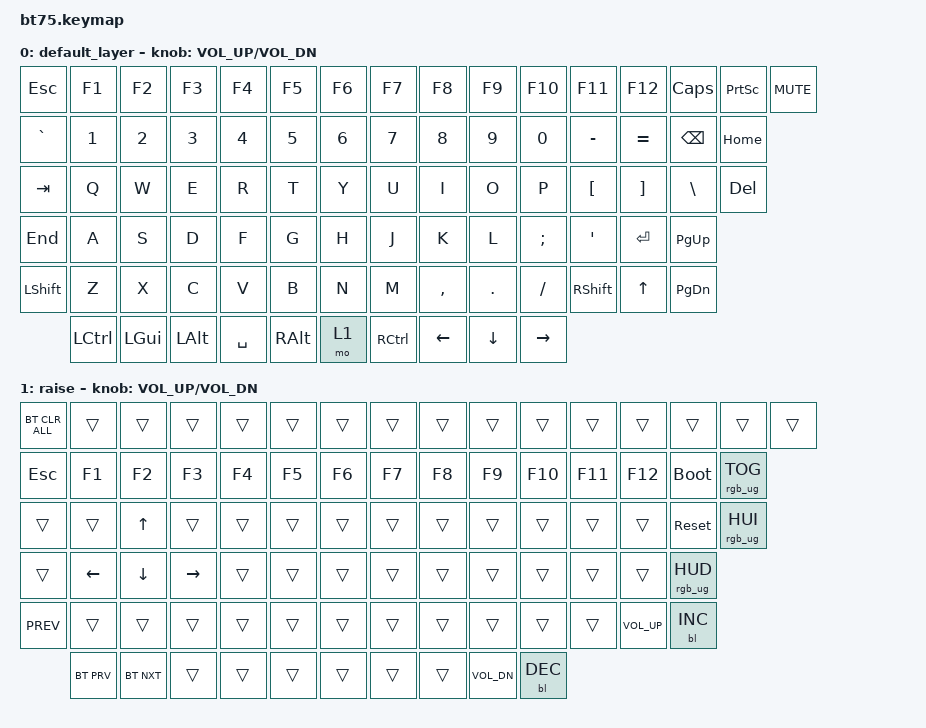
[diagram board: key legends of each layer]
#include <behaviors.dtsi>
#include <dt-bindings/zmk/backlight.h>
#include <dt-bindings/zmk/bt.h>
#include <dt-bindings/zmk/keys.h>
#include <dt-bindings/zmk/rgb.h>

/ {
    keymap {
        compatible = "zmk,keymap";

        default_layer {
            // ------------------------------------------------------------------------------------------------------------
            // | ESC | F1  | F2  | F3  | F4  | F5  | F6  | F7  | F9  | F9  | F10 | F11 | F12 | PSCRN | INS | DEL	|
            // |  `  |  1  |  2  |  3  |  4  |  5  |  6  |  7  |  8  |  9  |  0  |  -  |  =  |   BKSP   | HOME	|
            // | TAB  |  Q  |  W  |  E  |  R  |  T  |  Y  |  U  |  I  |  O  |  P  |  [  |  ]  |    \    | PG UP |
            // | CAPS  |  A  |  S  |  D  |  F  |  G  |  H  |  J  |  K  |  L  |  ;  |  '  |     ENTER     | PG DN |
            // |  SHIFT    |  Z  |  X  |  C  |  V  |  B  |  N  |  M  |  ,  |  .  | /   |    SHIFT |  UP  |  END  |
            // |  CTL  |  WIN  |  ALT  |            SPACE               | ALT | 1  | CTRL |  LEFT | DOWN | RIGHT |
            // ------------------------------------------------------------------------------------------------------------

            bindings = <
&kp ESC    &kp F1     &kp F2    &kp F3    &kp F4     &kp F5    &kp F6  &kp F7     &kp F8     &kp F9    &kp F10    &kp F11    &kp F12    &kp CAPS       &kp PRINTSCREEN  &kp C_MUTE
&kp GRAVE  &kp N1     &kp N2    &kp N3    &kp N4     &kp N5    &kp N6  &kp N7     &kp N8     &kp N9    &kp N0     &kp MINUS  &kp EQUAL  &kp BKSP       &kp HOME
&kp TAB    &kp Q      &kp W     &kp E     &kp R      &kp T     &kp Y   &kp U      &kp I      &kp O     &kp P      &kp LBKT   &kp RBKT   &kp BSLH       &kp DEL
&kp END    &kp A      &kp S     &kp D     &kp F      &kp G     &kp H   &kp J      &kp K      &kp L     &kp SEMI   &kp SQT    &kp RET    &kp PAGE_UP
&kp LSHFT  &kp Z      &kp X     &kp C     &kp V      &kp B     &kp N   &kp M      &kp COMMA  &kp DOT   &kp FSLH   &kp RSHFT  &kp UP     &kp PAGE_DOWN
           &kp LCTRL  &kp LGUI  &kp LALT  &kp SPACE  &kp RALT  &mo 1   &kp RCTRL  &kp LEFT   &kp DOWN  &kp RIGHT
            >;

            sensor-bindings = <&inc_dec_kp C_VOL_UP C_VOL_DN>;
        };

        raise {
            bindings = <
&bt BT_CLR_ALL  &trans      &trans      &trans     &trans  &trans  &trans  &trans  &trans  &trans        &trans      &trans   &trans        &trans           &trans           &trans
&kp ESC         &kp F1      &kp F2      &kp F3     &kp F4  &kp F5  &kp F6  &kp F7  &kp F8  &kp F9        &kp F10     &kp F11  &kp F12       &bootloader      &rgb_ug RGB_TOG
&trans          &trans      &kp UP      &trans     &trans  &trans  &trans  &trans  &trans  &trans        &trans      &trans   &trans        &sys_reset       &rgb_ug RGB_HUI
&trans          &kp LEFT    &kp DOWN    &kp RIGHT  &trans  &trans  &trans  &trans  &trans  &trans        &trans      &trans   &trans        &rgb_ug RGB_HUD
&kp C_PREV      &trans      &trans      &trans     &trans  &trans  &trans  &trans  &trans  &trans        &trans      &trans   &kp C_VOL_UP  &bl BL_INC
                &bt BT_PRV  &bt BT_NXT  &trans     &trans  &trans  &trans  &trans  &trans  &kp C_VOL_DN  &bl BL_DEC
            >;

            sensor-bindings = <&inc_dec_kp C_VOL_UP C_VOL_DN>;
        };
    };
};
